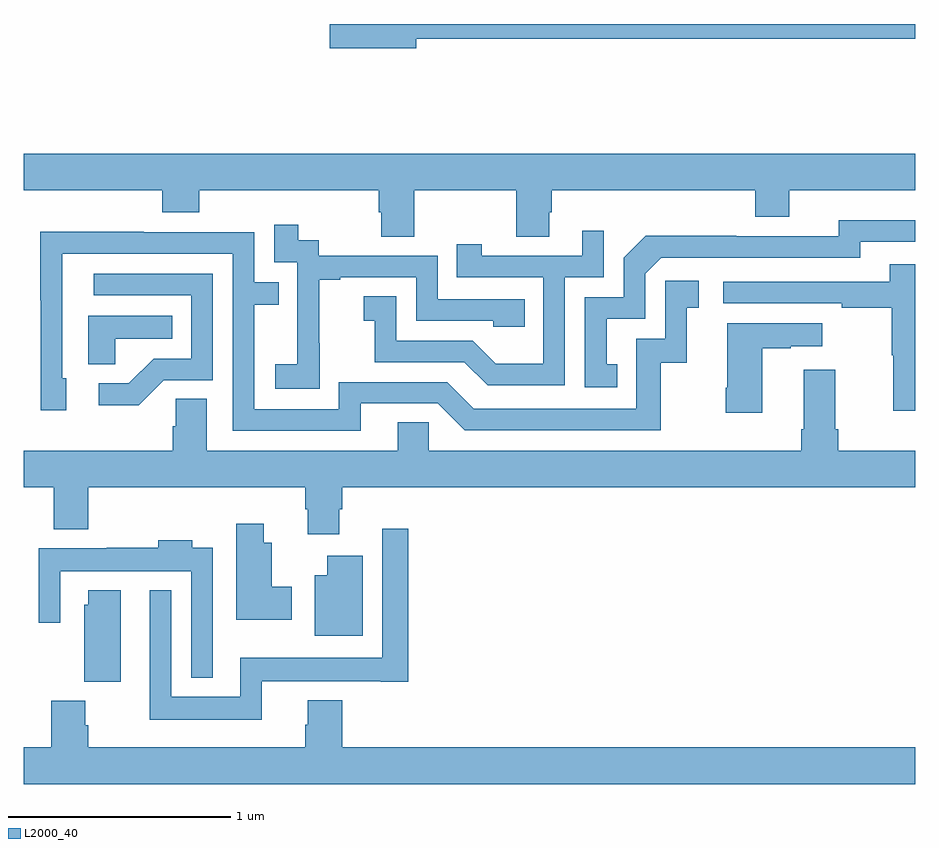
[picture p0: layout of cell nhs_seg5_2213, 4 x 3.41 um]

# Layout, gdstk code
import gdstk
lib = gdstk.Library(unit=1e-6, precision=1e-09)
def P(c, l, *ps):  # polygons
    for p in ps: c.add(gdstk.Polygon(p, *l))
L2000_40 = (2000, 40)

nhs_seg5_2213 = lib.new_cell('nhs_seg5_2213')
P(nhs_seg5_2213, L2000_40, [(240.76,898.732),(243,898.732),(243,898.799),(240.372,898.799),(240.372,898.69),(240.76,898.69)],
  [(240.753,898.052),(241.21,898.052),(241.21,897.844),(241.357,897.844),(241.357,897.954),(241.37,897.954),(241.37,898.052),(242.282,898.052),(242.282,897.935),(242.434,897.935),(242.434,898.052),(243,898.052),(243,898.216),(239,898.216),(239,898.052),(239.621,898.052),(239.621,897.953),(239.786,897.953),(239.786,898.052),(240.593,898.052),(240.593,897.954),(240.605,897.954),(240.605,897.844),(240.753,897.844)],
  [(241.664,897.273),(241.615,897.273),(241.615,897.477),(241.788,897.477),(241.788,897.678),(241.86,897.75),(242.754,897.75),(242.754,897.822),(243,897.822),(243,897.919),(242.658,897.919),(242.658,897.846),(242.198,897.846),(242.198,897.848),(241.79,897.848),(241.692,897.75),(241.692,897.573),(241.518,897.573),(241.518,897.168),(241.664,897.168)],
  [(240.327,897.367),(240.326,897.367),(240.326,897.651),(240.421,897.651),(240.421,897.663),(240.762,897.663),(240.762,897.468),(241.107,897.468),(241.107,897.441),(241.247,897.441),(241.247,897.564),(240.858,897.564),(240.858,897.759),(240.324,897.759),(240.324,897.828),(240.232,897.828),(240.232,897.898),(240.123,897.898),(240.123,897.729),(240.228,897.729),(240.228,897.5),(240.227,897.5),(240.227,897.271),(240.129,897.271),(240.129,897.161),(240.327,897.161)],
  [(241.428,897.663),(241.602,897.663),(241.602,897.871),(241.505,897.871),(241.505,897.759),(241.054,897.759),(241.054,897.811),(240.943,897.811),(240.943,897.663),(241.332,897.663),(241.332,897.274),(241.118,897.274),(241.014,897.378),(240.672,897.378),(240.672,897.577),(240.525,897.577),(240.525,897.467),(240.574,897.467),(240.574,897.282),(240.977,897.282),(241.082,897.177),(241.428,897.177)],
  [(240.511,897.096),(240.858,897.096),(240.978,896.976),(241.858,896.976),(241.858,897.279),(241.976,897.279),(241.976,897.525),(242.029,897.525),(242.029,897.646),(241.878,897.646),(241.878,897.387),(241.749,897.387),(241.749,897.072),(241.02,897.072),(240.9,897.192),(240.414,897.192),(240.414,897.069),(240.033,897.069),(240.033,897.538),(240.143,897.538),(240.143,897.639),(240.033,897.639),(240.033,897.864),(239.537,897.864),(239.537,897.866),(239.074,897.866),(239.074,897.559),(239.076,897.559),(239.076,897.066),(239.191,897.066),(239.191,897.21),(239.172,897.21),(239.172,897.768),(239.937,897.768),(239.937,896.973),(240.511,896.973)],
  [(243,897.721),(242.887,897.721),(242.887,897.642),(242.139,897.642),(242.139,897.546),(242.671,897.546),(242.671,897.526),(242.895,897.526),(242.895,897.312),(242.902,897.312),(242.902,897.063),(243,897.063)],
  [(239.628,897.201),(239.847,897.201),(239.847,897.678),(239.313,897.678),(239.313,897.582),(239.751,897.582),(239.751,897.297),(239.582,897.297),(239.471,897.186),(239.337,897.186),(239.337,897.089),(239.515,897.089)],
  [(239.409,897.386),(239.666,897.386),(239.666,897.49),(239.288,897.49),(239.288,897.271),(239.409,897.271)],
  [(242.314,897.343),(242.441,897.343),(242.441,897.353),(242.584,897.353),(242.584,897.457),(242.156,897.457),(242.156,897.166),(242.149,897.166),(242.149,897.054),(242.314,897.054)],
  [(242.641,896.98),(242.641,897.247),(242.501,897.247),(242.501,896.98),(242.489,896.98),(242.489,896.884),(240.816,896.884),(240.816,897.011),(240.677,897.011),(240.677,896.884),(239.821,896.884),(239.821,897.116),(239.682,897.116),(239.682,896.993),(239.669,896.993),(239.669,896.884),(239,896.884),(239,896.72),(239.135,896.72),(239.135,896.531),(239.288,896.531),(239.288,896.72),(240.263,896.72),(240.263,896.622),(240.275,896.622),(240.275,896.508),(240.415,896.508),(240.415,896.622),(240.428,896.622),(240.428,896.72),(243,896.72),(243,896.884),(242.654,896.884),(242.654,896.98)],
  [(240.202,896.274),(240.112,896.274),(240.112,896.47),(240.076,896.47),(240.076,896.557),(239.954,896.557),(239.954,896.126),(240.202,896.126)],
  [(240.068,895.85),(240.602,895.85),(240.602,895.848),(240.725,895.848),(240.725,896.533),(240.609,896.533),(240.609,895.954),(239.97,895.954),(239.97,895.78),(239.661,895.78),(239.661,896.257),(239.564,896.257),(239.564,895.676),(240.068,895.676)],
  [(239.847,896.449),(239.755,896.449),(239.755,896.482),(239.603,896.482),(239.603,896.449),(239.371,896.449),(239.371,896.446),(239.067,896.446),(239.067,896.112),(239.163,896.112),(239.163,896.342),(239.751,896.342),(239.751,895.865),(239.847,895.865)],
  [(240.52,896.413),(240.362,896.413),(240.362,896.326),(240.305,896.326),(240.305,896.054),(240.52,896.054)],
  [(239.434,896.257),(239.288,896.257),(239.288,896.193),(239.27,896.193),(239.27,895.846),(239.434,895.846)],
  [(243,895.552),(240.428,895.552),(240.428,895.765),(240.275,895.765),(240.275,895.653),(240.263,895.653),(240.263,895.552),(239.288,895.552),(239.288,895.652),(239.275,895.652),(239.275,895.761),(239.123,895.761),(239.123,895.552),(239,895.552),(239,895.388),(243,895.388)])

lib.write_gds('nhs_seg5_2213.gds')
